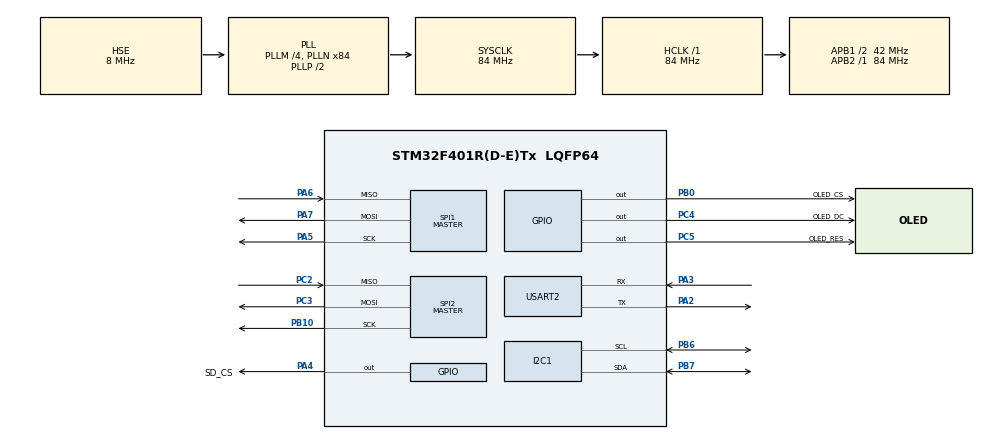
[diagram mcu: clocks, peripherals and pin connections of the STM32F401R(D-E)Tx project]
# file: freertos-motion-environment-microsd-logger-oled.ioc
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Dma.Request0=USART2_RX
Dma.Request1=USART2_TX
Dma.USART2_RX.0.Direction=DMA_PERIPH_TO_MEMORY
Dma.USART2_RX.0.FIFOMode=DMA_FIFOMODE_DISABLE
Dma.USART2_RX.0.Instance=DMA1_Stream5
Dma.USART2_RX.0.MemDataAlignment=DMA_MDATAALIGN_BYTE
Dma.USART2_RX.0.MemInc=DMA_MINC_ENABLE
Dma.USART2_RX.0.Mode=DMA_CIRCULAR
Dma.USART2_RX.0.PeriphDataAlignment=DMA_PDATAALIGN_BYTE
Dma.USART2_RX.0.PeriphInc=DMA_PINC_DISABLE
Dma.USART2_RX.0.Priority=DMA_PRIORITY_LOW
Dma.USART2_TX.1.Direction=DMA_MEMORY_TO_PERIPH
Dma.USART2_TX.1.FIFOMode=DMA_FIFOMODE_DISABLE
Dma.USART2_TX.1.Instance=DMA1_Stream6
Dma.USART2_TX.1.MemDataAlignment=DMA_MDATAALIGN_BYTE
Dma.USART2_TX.1.MemInc=DMA_MINC_ENABLE
Dma.USART2_TX.1.Mode=DMA_NORMAL
Dma.USART2_TX.1.PeriphDataAlignment=DMA_PDATAALIGN_BYTE
Dma.USART2_TX.1.PeriphInc=DMA_PINC_DISABLE
Dma.USART2_TX.1.Priority=DMA_PRIORITY_LOW
FREERTOS.Tasks01=defaultTask,24,128,StartDefaultTask,Default,NULL,Dynamic,NULL,NULL
FREERTOS.configUSE_NEWLIB_REENTRANT=1
Mcu.Family=STM32F4
Mcu.Name=STM32F401R(D-E)Tx
Mcu.Package=LQFP64
NVIC.DMA1_Stream5_IRQn=true\:5\:0\:false\:false\:true\:true\:false\:true\:true
NVIC.DMA1_Stream6_IRQn=true\:5\:0\:false\:false\:true\:true\:false\:true\:true
NVIC.PriorityGroup=NVIC_PRIORITYGROUP_4
NVIC.TIM1_TRG_COM_TIM11_IRQn=true\:15\:0\:false\:false\:true\:false\:false\:true\:true
NVIC.TimeBase=TIM1_TRG_COM_TIM11_IRQn
NVIC.TimeBaseIP=TIM11
NVIC.USART2_IRQn=true\:5\:0\:false\:false\:true\:true\:false\:true\:true
PA2.Mode=Asynchronous
PA2.Signal=USART2_TX
PA3.Mode=Asynchronous
PA3.Signal=USART2_RX
PA4.GPIO_Label=SD_CS
PA4.Signal=GPIO_Output
PA5.Mode=Full_Duplex_Master
PA5.Signal=SPI1_SCK
PA6.Mode=Full_Duplex_Master
PA6.Signal=SPI1_MISO
PA7.Mode=Full_Duplex_Master
PA7.Signal=SPI1_MOSI
PB0.GPIO_Label=OLED_CS
PB0.Signal=GPIO_Output
PB10.Mode=Full_Duplex_Master
PB10.Signal=SPI2_SCK
PB6.Mode=I2C
PB6.Signal=I2C1_SCL
PB7.Mode=I2C
PB7.Signal=I2C1_SDA
PC2.Mode=Full_Duplex_Master
PC2.Signal=SPI2_MISO
PC3.Mode=Full_Duplex_Master
PC3.Signal=SPI2_MOSI
PC4.GPIO_Label=OLED_DC
PC4.Signal=GPIO_Output
PC5.GPIO_Label=OLED_RES
PC5.Signal=GPIO_Output
PH0\ -\ OSC_IN.Mode=HSE-External-Oscillator
PH0\ -\ OSC_IN.Signal=RCC_OSC_IN
PH1\ -\ OSC_OUT.Mode=HSE-External-Oscillator
PH1\ -\ OSC_OUT.Signal=RCC_OSC_OUT
ProjectManager.HeapSize=0x200
ProjectManager.StackSize=0x400
ProjectManager.TargetToolchain=STM32CubeIDE
RCC.48MHZClocksFreq_Value=42000000
RCC.AHBFreq_Value=84000000
RCC.APB1CLKDivider=RCC_HCLK_DIV2
RCC.APB1Freq_Value=42000000
RCC.APB1TimFreq_Value=84000000
RCC.APB2Freq_Value=84000000
RCC.APB2TimFreq_Value=84000000
RCC.CortexFreq_Value=84000000
RCC.HCLKFreq_Value=84000000
RCC.HSE_VALUE=8000000
RCC.HSI_VALUE=16000000
RCC.LSE_VALUE=32768
RCC.PLLM=4
RCC.PLLN=84
RCC.PLLSourceVirtual=RCC_PLLSOURCE_HSE
RCC.SYSCLKFreq_VALUE=84000000
RCC.SYSCLKSource=RCC_SYSCLKSOURCE_PLLCLK
RCC.VCOOutputFreq_Value=168000000
SPI1.BaudRatePrescaler=SPI_BAUDRATEPRESCALER_256
SPI1.Direction=SPI_DIRECTION_2LINES
SPI1.Mode=SPI_MODE_MASTER
SPI1.VirtualType=VM_MASTER
SPI2.Direction=SPI_DIRECTION_2LINES
SPI2.Mode=SPI_MODE_MASTER
SPI2.VirtualType=VM_MASTER
TIM2.AutoReloadPreload=TIM_AUTORELOAD_PRELOAD_DISABLE
TIM2.Prescaler=839
USART2.VirtualMode=VM_ASYNC
VP_FATFS_VS_Generic.Mode=User_defined
VP_FREERTOS_VS_CMSIS_V2.Mode=CMSIS_V2
VP_SYS_VS_tim11.Mode=TIM11
VP_TIM2_VS_ClockSourceINT.Mode=Internal
board=custom

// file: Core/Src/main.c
/* USER CODE BEGIN Header */
/**
  ******************************************************************************
  * @file           : main.c
  * @brief          : Main program body
  ******************************************************************************
  * @attention
  *
  * Copyright (c) 2026 STMicroelectronics.
  * All rights reserved.
  *
  * This software is licensed under terms that can be found in the LICENSE file
  * in the root directory of this software component.
  * If no LICENSE file comes with this software, it is provided AS-IS.
  *
  ******************************************************************************
  */
/* USER CODE END Header */
#include "main.h"
#include "cmsis_os.h"
#include "fatfs.h"

/* USER CODE BEGIN Includes */
#include "freertos-app.h"
#include  "mpu6050.h"
/* USER CODE END Includes */

I2C_HandleTypeDef hi2c1;

SPI_HandleTypeDef hspi1;
SPI_HandleTypeDef hspi2;

TIM_HandleTypeDef htim2;

UART_HandleTypeDef huart2;
DMA_HandleTypeDef hdma_usart2_rx;
DMA_HandleTypeDef hdma_usart2_tx;

/* Definitions for defaultTask */
osThreadId_t defaultTaskHandle;
const osThreadAttr_t defaultTask_attributes = {
  .name = "defaultTask",
  .stack_size = 128 * 4,
  .priority = (osPriority_t) osPriorityNormal,
};

void SystemClock_Config(void);
static void MX_GPIO_Init(void);
static void MX_DMA_Init(void);
static void MX_I2C1_Init(void);
static void MX_SPI1_Init(void);
static void MX_TIM2_Init(void);
static void MX_USART2_UART_Init(void);
static void MX_SPI2_Init(void);
void StartDefaultTask(void *argument);

int main(void)
{

  /* MCU Configuration--------------------------------------------------------*/

  /* Reset of all peripherals, Initializes the Flash interface and the Systick. */
  HAL_Init();

  /* Configure the system clock */
  SystemClock_Config();

  /* Initialize all configured peripherals */
  MX_GPIO_Init();
  MX_DMA_Init();
  MX_I2C1_Init();
  MX_SPI1_Init();
  MX_TIM2_Init();
  MX_USART2_UART_Init();
  MX_FATFS_Init();
  MX_SPI2_Init();

  /* Init scheduler */
  FreeRTOS_Init();

  /* Create the thread(s) */
  /* creation of defaultTask */
  defaultTaskHandle = osThreadNew(StartDefaultTask, NULL, &defaultTask_attributes);

  /* USER CODE BEGIN RTOS_THREADS */
  TaskHandle_t default_task_handle = NULL;
  xTaskCreate(
      StartDefaultTask,
      "default_task",
      128,                    /* Stack depth in words */
      NULL,
      tskIDLE_PRIORITY + 1,
      &default_task_handle
  );

  /* Start scheduler */

  /* USER CODE END RTOS_THREADS */

  /* Start scheduler */
  vTaskStartScheduler();

  /* We should never get here as control is now taken by the scheduler */

  /* Infinite loop */
  while (1)
  {

  }
}

void SystemClock_Config(void)
{
  RCC_OscInitTypeDef RCC_OscInitStruct = {0};
  RCC_ClkInitTypeDef RCC_ClkInitStruct = {0};

  /** Configure the main internal regulator output voltage
  */
  __HAL_RCC_PWR_CLK_ENABLE();
  __HAL_PWR_VOLTAGESCALING_CONFIG(PWR_REGULATOR_VOLTAGE_SCALE2);

  /** Initializes the RCC Oscillators according to the specified parameters
  * in the RCC_OscInitTypeDef structure.
  */
  RCC_OscInitStruct.OscillatorType = RCC_OSCILLATORTYPE_HSE;
  RCC_OscInitStruct.HSEState = RCC_HSE_ON;
  RCC_OscInitStruct.PLL.PLLState = RCC_PLL_ON;
  RCC_OscInitStruct.PLL.PLLSource = RCC_PLLSOURCE_HSE;
  RCC_OscInitStruct.PLL.PLLM = 4;
  RCC_OscInitStruct.PLL.PLLN = 84;
  RCC_OscInitStruct.PLL.PLLP = RCC_PLLP_DIV2;
  RCC_OscInitStruct.PLL.PLLQ = 4;
  if (HAL_RCC_OscConfig(&RCC_OscInitStruct) != HAL_OK)
  {
    Error_Handler();
  }

  /** Initializes the CPU, AHB and APB buses clocks
  */
  RCC_ClkInitStruct.ClockType = RCC_CLOCKTYPE_HCLK|RCC_CLOCKTYPE_SYSCLK
                              |RCC_CLOCKTYPE_PCLK1|RCC_CLOCKTYPE_PCLK2;
  RCC_ClkInitStruct.SYSCLKSource = RCC_SYSCLKSOURCE_PLLCLK;
  RCC_ClkInitStruct.AHBCLKDivider = RCC_SYSCLK_DIV1;
  RCC_ClkInitStruct.APB1CLKDivider = RCC_HCLK_DIV2;
  RCC_ClkInitStruct.APB2CLKDivider = RCC_HCLK_DIV1;

  if (HAL_RCC_ClockConfig(&RCC_ClkInitStruct, FLASH_LATENCY_2) != HAL_OK)
  {
    Error_Handler();
  }
}

static void MX_I2C1_Init(void)
{

  hi2c1.Instance = I2C1;
  hi2c1.Init.ClockSpeed = 100000;
  hi2c1.Init.DutyCycle = I2C_DUTYCYCLE_2;
  hi2c1.Init.OwnAddress1 = 0;
  hi2c1.Init.AddressingMode = I2C_ADDRESSINGMODE_7BIT;
  hi2c1.Init.DualAddressMode = I2C_DUALADDRESS_DISABLE;
  hi2c1.Init.OwnAddress2 = 0;
  hi2c1.Init.GeneralCallMode = I2C_GENERALCALL_DISABLE;
  hi2c1.Init.NoStretchMode = I2C_NOSTRETCH_DISABLE;
  if (HAL_I2C_Init(&hi2c1) != HAL_OK)
  {
    Error_Handler();
  }

}

static void MX_SPI1_Init(void)
{

  /* SPI1 parameter configuration*/
  hspi1.Instance = SPI1;
  hspi1.Init.Mode = SPI_MODE_MASTER;
  hspi1.Init.Direction = SPI_DIRECTION_2LINES;
  hspi1.Init.DataSize = SPI_DATASIZE_8BIT;
  hspi1.Init.CLKPolarity = SPI_POLARITY_LOW;
  hspi1.Init.CLKPhase = SPI_PHASE_1EDGE;
  hspi1.Init.NSS = SPI_NSS_SOFT;
  hspi1.Init.BaudRatePrescaler = SPI_BAUDRATEPRESCALER_256;
  hspi1.Init.FirstBit = SPI_FIRSTBIT_MSB;
  hspi1.Init.TIMode = SPI_TIMODE_DISABLE;
  hspi1.Init.CRCCalculation = SPI_CRCCALCULATION_DISABLE;
  hspi1.Init.CRCPolynomial = 10;
  if (HAL_SPI_Init(&hspi1) != HAL_OK)
  {
    Error_Handler();
  }

}

static void MX_SPI2_Init(void)
{

  /* SPI2 parameter configuration*/
  hspi2.Instance = SPI2;
  hspi2.Init.Mode = SPI_MODE_MASTER;
  hspi2.Init.Direction = SPI_DIRECTION_2LINES;
  hspi2.Init.DataSize = SPI_DATASIZE_8BIT;
  hspi2.Init.CLKPolarity = SPI_POLARITY_LOW;
  hspi2.Init.CLKPhase = SPI_PHASE_1EDGE;
  hspi2.Init.NSS = SPI_NSS_SOFT;
  hspi2.Init.BaudRatePrescaler = SPI_BAUDRATEPRESCALER_2;
  hspi2.Init.FirstBit = SPI_FIRSTBIT_MSB;
  hspi2.Init.TIMode = SPI_TIMODE_DISABLE;
  hspi2.Init.CRCCalculation = SPI_CRCCALCULATION_DISABLE;
  hspi2.Init.CRCPolynomial = 10;
  if (HAL_SPI_Init(&hspi2) != HAL_OK)
  {
    Error_Handler();
  }

}

static void MX_TIM2_Init(void)
{

  TIM_ClockConfigTypeDef sClockSourceConfig = {0};
  TIM_MasterConfigTypeDef sMasterConfig = {0};

  htim2.Instance = TIM2;
  htim2.Init.Prescaler = 839;
  htim2.Init.CounterMode = TIM_COUNTERMODE_UP;
  htim2.Init.Period = 4294967295;
  htim2.Init.ClockDivision = TIM_CLOCKDIVISION_DIV1;
  htim2.Init.AutoReloadPreload = TIM_AUTORELOAD_PRELOAD_DISABLE;
  if (HAL_TIM_Base_Init(&htim2) != HAL_OK)
  {
    Error_Handler();
  }
  sClockSourceConfig.ClockSource = TIM_CLOCKSOURCE_INTERNAL;
  if (HAL_TIM_ConfigClockSource(&htim2, &sClockSourceConfig) != HAL_OK)
  {
    Error_Handler();
  }
  sMasterConfig.MasterOutputTrigger = TIM_TRGO_RESET;
  sMasterConfig.MasterSlaveMode = TIM_MASTERSLAVEMODE_DISABLE;
  if (HAL_TIMEx_MasterConfigSynchronization(&htim2, &sMasterConfig) != HAL_OK)
  {
    Error_Handler();
  }

}

static void MX_USART2_UART_Init(void)
{

  huart2.Instance = USART2;
  huart2.Init.BaudRate = 115200;
  huart2.Init.WordLength = UART_WORDLENGTH_8B;
  huart2.Init.StopBits = UART_STOPBITS_1;
  huart2.Init.Parity = UART_PARITY_NONE;
  huart2.Init.Mode = UART_MODE_TX_RX;
  huart2.Init.HwFlowCtl = UART_HWCONTROL_NONE;
  huart2.Init.OverSampling = UART_OVERSAMPLING_16;
  if (HAL_UART_Init(&huart2) != HAL_OK)
  {
    Error_Handler();
  }

}

static void MX_DMA_Init(void)
{

  /* DMA controller clock enable */
  __HAL_RCC_DMA1_CLK_ENABLE();

  /* DMA interrupt init */
  /* DMA1_Stream5_IRQn interrupt configuration */
  HAL_NVIC_SetPriority(DMA1_Stream5_IRQn, 5, 0);
  HAL_NVIC_EnableIRQ(DMA1_Stream5_IRQn);
  /* DMA1_Stream6_IRQn interrupt configuration */
  HAL_NVIC_SetPriority(DMA1_Stream6_IRQn, 5, 0);
  HAL_NVIC_EnableIRQ(DMA1_Stream6_IRQn);

}

static void MX_GPIO_Init(void)
{
  GPIO_InitTypeDef GPIO_InitStruct = {0};

  /* GPIO Ports Clock Enable */
  __HAL_RCC_GPIOH_CLK_ENABLE();
  __HAL_RCC_GPIOC_CLK_ENABLE();
  __HAL_RCC_GPIOA_CLK_ENABLE();
  __HAL_RCC_GPIOB_CLK_ENABLE();

  /*Configure GPIO pin Output Level */
  HAL_GPIO_WritePin(SD_CS_GPIO_Port, SD_CS_Pin, GPIO_PIN_RESET);

  /*Configure GPIO pin Output Level */
  HAL_GPIO_WritePin(GPIOC, OLED_DC_Pin|OLED_RES_Pin, GPIO_PIN_RESET);

  /*Configure GPIO pin Output Level */
  HAL_GPIO_WritePin(OLED_CS_GPIO_Port, OLED_CS_Pin, GPIO_PIN_RESET);

  /*Configure GPIO pin : SD_CS_Pin */
  GPIO_InitStruct.Pin = SD_CS_Pin;
  GPIO_InitStruct.Mode = GPIO_MODE_OUTPUT_PP;
  GPIO_InitStruct.Pull = GPIO_NOPULL;
  GPIO_InitStruct.Speed = GPIO_SPEED_FREQ_LOW;
  HAL_GPIO_Init(SD_CS_GPIO_Port, &GPIO_InitStruct);

  /*Configure GPIO pins : OLED_DC_Pin OLED_RES_Pin */
  GPIO_InitStruct.Pin = OLED_DC_Pin|OLED_RES_Pin;
  GPIO_InitStruct.Mode = GPIO_MODE_OUTPUT_PP;
  GPIO_InitStruct.Pull = GPIO_NOPULL;
  GPIO_InitStruct.Speed = GPIO_SPEED_FREQ_LOW;
  HAL_GPIO_Init(GPIOC, &GPIO_InitStruct);

  /*Configure GPIO pin : OLED_CS_Pin */
  GPIO_InitStruct.Pin = OLED_CS_Pin;
  GPIO_InitStruct.Mode = GPIO_MODE_OUTPUT_PP;
  GPIO_InitStruct.Pull = GPIO_NOPULL;
  GPIO_InitStruct.Speed = GPIO_SPEED_FREQ_LOW;
  HAL_GPIO_Init(OLED_CS_GPIO_Port, &GPIO_InitStruct);

}

void StartDefaultTask(void *argument)
{
  for(;;)
  {
    osDelay(1);
  }
}

void HAL_TIM_PeriodElapsedCallback(TIM_HandleTypeDef *htim)
{
  if (htim->Instance == TIM11)
  {
    HAL_IncTick();
  }
}

void Error_Handler(void)
{
  __disable_irq();
  while (1)
  {
  }
}

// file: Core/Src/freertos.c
/* USER CODE BEGIN Header */
/**
  ******************************************************************************
  * File Name          : freertos.c
  * Description        : Code for freertos applications
  ******************************************************************************
  * @attention
  *
  * Copyright (c) 2026 STMicroelectronics.
  * All rights reserved.
  *
  * This software is licensed under terms that can be found in the LICENSE file
  * in the root directory of this software component.
  * If no LICENSE file comes with this software, it is provided AS-IS.
  *
  ******************************************************************************
  */
/* USER CODE END Header */

#include "FreeRTOS.h"
#include "task.h"
#include "main.h"

/* USER CODE BEGIN Includes */
#include "freertos-app.h"
#include "mpu6050.h"
#include "sd.h"
#include "main.h"
#include "shell.h"
/* USER CODE END Includes */

/* USER CODE BEGIN Variables */
TaskHandle_t shell_read_task_handle;
TaskHandle_t shell_print_task_handle;
TaskHandle_t mpu6050_sample_task_handle;
TaskHandle_t bme280_sample_task_handle;
TaskHandle_t sd_sensor_log_task_handle;

QueueHandle_t shell_print_queue_handle;
QueueHandle_t sd_log_queue_handle;

SemaphoreHandle_t i2c_mutex_handle;
SemaphoreHandle_t sd_mutex_handle;

/* USER CODE END Variables */

/* USER CODE BEGIN FunctionPrototypes */
extern void bme280_sample_task(void *arg);
/* USER CODE END FunctionPrototypes */

/* USER CODE BEGIN Application */
void FreeRTOS_Init(void){

	shell_print_queue_handle = xQueueCreate(4, sizeof(shell_print_msg_t));
	sd_log_queue_handle = xQueueCreate(4, sizeof(sensor_sd_log_t));

	i2c_mutex_handle = xSemaphoreCreateMutex();
	sd_mutex_handle = xSemaphoreCreateMutex();

	xTaskCreate(
			shell_read_task,
			"shell_read_task",
			512,
			NULL,
			3,
			&shell_read_task_handle);

	xTaskCreate(
			shell_print_task,
			"shell_print_task",
			512,
			NULL,
			3,
			&shell_print_task_handle);

	xTaskCreate(
			mpu6050_sample_task,
			"mpu6050_sample_task",
			512,
			NULL,
			1,
			&mpu6050_sample_task_handle);

	xTaskCreate(
			bme280_sample_task,
			"bme280_sample_task",
			512,
			NULL,
			1,
			&bme280_sample_task_handle);

	xTaskCreate(
			sd_sensor_log_task,
			"sd_sensor_log_task",
			512,
			NULL,
			2,
			&sd_sensor_log_task_handle);

}
/* USER CODE END Application */
